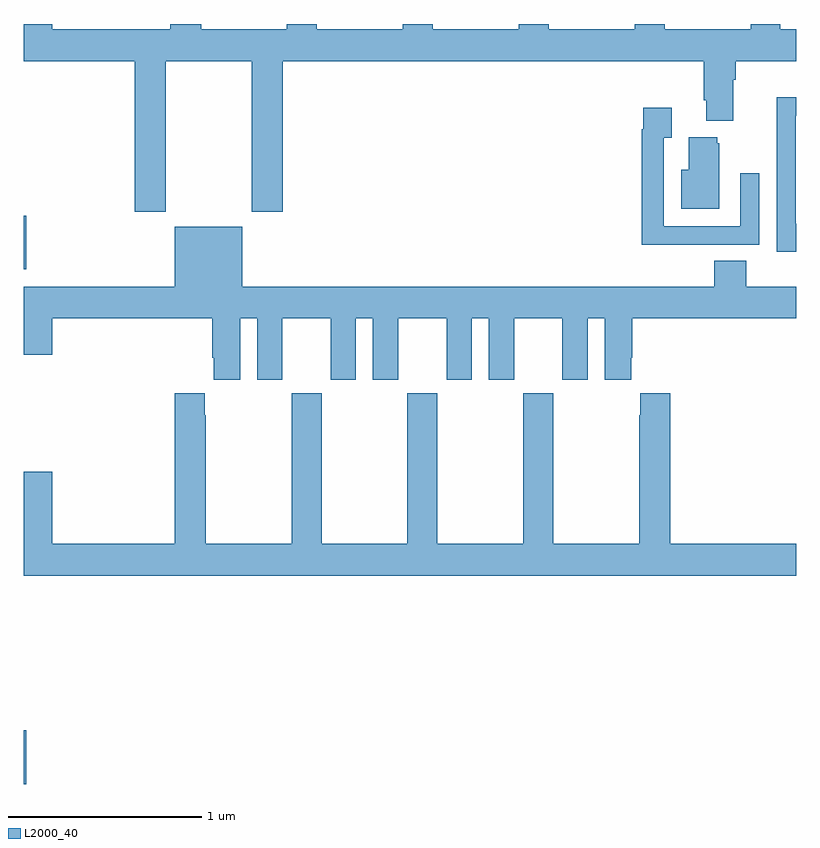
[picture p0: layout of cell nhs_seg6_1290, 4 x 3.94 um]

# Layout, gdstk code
import gdstk
lib = gdstk.Library(unit=1e-6, precision=1e-09)
def R(c, l, rs):  # rectangles x0, y0, x1, y1
    for r in rs: c.add(gdstk.rectangle(r[:2], r[2:], *l))
def P(c, l, *ps):  # polygons
    for p in ps: c.add(gdstk.Polygon(p, *l))
L2000_40 = (2000, 40)

nhs_seg6_1290 = lib.new_cell('nhs_seg6_1290')
R(nhs_seg6_1290, L2000_40, [(189,971.565,189.014,971.844), (189,974.229,189.014,974.508)])
P(nhs_seg6_1290, L2000_40, [(193,975.472),(192.918,975.472),(192.918,975.5),(192.763,975.5),(192.763,975.472),(192.318,975.472),(192.318,975.5),(192.163,975.5),(192.163,975.472),(191.718,975.472),(191.718,975.5),(191.563,975.5),(191.563,975.472),(191.118,975.472),(191.118,975.5),(190.963,975.5),(190.963,975.472),(190.518,975.472),(190.518,975.5),(190.363,975.5),(190.363,975.472),(189.918,975.472),(189.918,975.5),(189.758,975.5),(189.758,975.472),(189.148,975.472),(189.148,975.5),(189,975.5),(189,975.308),(189.575,975.308),(189.575,974.529),(189.735,974.529),(189.735,975.308),(190.18,975.308),(190.18,974.529),(190.34,974.529),(190.34,975.308),(192.521,975.308),(192.521,975.106),(192.533,975.106),(192.533,974.999),(192.673,974.999),(192.673,975.212),(192.686,975.212),(192.686,975.308),(193,975.308)],
  [(193,974.466),(192.996,974.466),(192.996,975.024),(193,975.024),(193,975.122),(192.898,975.122),(192.898,974.815),(192.9,974.815),(192.9,974.322),(193,974.322)],
  [(192.491,974.358),(192.807,974.358),(192.807,974.728),(192.711,974.728),(192.711,974.454),(192.315,974.454),(192.315,974.911),(192.355,974.911),(192.355,975.067),(192.207,975.067),(192.207,974.954),(192.199,974.954),(192.199,974.357),(192.491,974.357)],
  [(192.601,974.883),(192.59,974.883),(192.59,974.914),(192.443,974.914),(192.443,974.746),(192.404,974.746),(192.404,974.543),(192.601,974.543)],
  [(190.12,973.976),(190.208,973.976),(190.208,973.659),(190.339,973.659),(190.339,973.976),(190.589,973.976),(190.589,973.659),(190.72,973.659),(190.72,973.976),(190.808,973.976),(190.808,973.659),(190.939,973.659),(190.939,973.976),(191.189,973.976),(191.189,973.659),(191.32,973.659),(191.32,973.976),(191.408,973.976),(191.408,973.659),(191.539,973.659),(191.539,973.976),(191.789,973.976),(191.789,973.659),(191.92,973.659),(191.92,973.976),(192.008,973.976),(192.008,973.659),(192.145,973.659),(192.145,973.771),(192.152,973.771),(192.152,973.976),(193,973.976),(193,974.14),(192.74,974.14),(192.74,974.273),(192.575,974.273),(192.575,974.14),(190.132,974.14),(190.132,974.449),(189.782,974.449),(189.782,974.14),(189,974.14),(189,973.788),(189.148,973.788),(189.148,973.976),(189.977,973.976),(189.977,973.771),(189.983,973.771),(189.983,973.659),(190.12,973.659)],
  [(193,972.808),(192.347,972.808),(192.347,973.588),(192.191,973.588),(192.191,973.475),(192.187,973.475),(192.187,972.808),(191.742,972.808),(191.742,973.588),(191.587,973.588),(191.587,972.808),(191.142,972.808),(191.142,973.588),(190.987,973.588),(190.987,972.808),(190.542,972.808),(190.542,973.588),(190.387,973.588),(190.387,972.808),(189.942,972.808),(189.942,973.475),(189.937,973.475),(189.937,973.588),(189.782,973.588),(189.782,972.808),(189.148,972.808),(189.148,973.183),(189,973.183),(189,972.644),(193,972.644)])

lib.write_gds('nhs_seg6_1290.gds')
